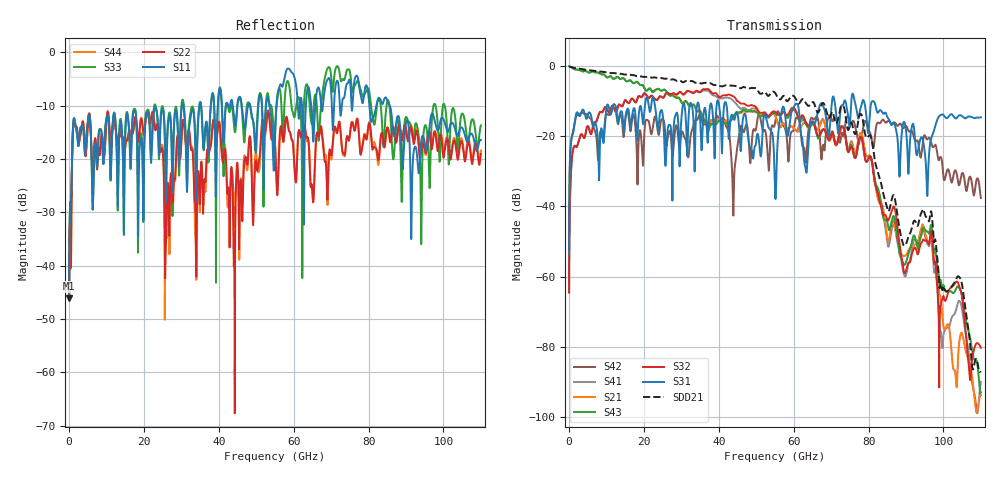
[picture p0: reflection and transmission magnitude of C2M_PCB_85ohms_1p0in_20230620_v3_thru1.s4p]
! Info: Touchstone file created by Circ.  Input file=C2M_PCB_85ohms_1p0in_20230620_v3.circ
# Hz S RI R 50
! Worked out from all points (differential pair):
!   11000 points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, 10 MHz to 110 GHz, reference 50 ohm
!   strongest paths, dB at 10 MHz, 27.51 GHz, 55.01 GHz, 82.51 GHz, 110 GHz:
!     S31: -53.2, -27.6, -36.0, -13.3, -14.6
!     S32: -64.5, -7.9, -13.1, -36.5, -80.3
!     S43: 0.0, -8.4, -13.4, -34.9, -92.9
!     S21: 0.0, -8.1, -13.9, -37.9, -93.7
!     S41: -64.5, -8.1, -14.0, -36.6, -90.0
!     S42: -53.0, -24.5, -16.3, -16.1, -37.6
!   taken as a pair (ports 3,1 in; 4,2 out), SDD21 dB: 0.0, -3.8, -7.6, -30.4, -87.2
!   lowest |S11| = -46.1 dB at 10 MHz (marker M1), VSWR 1.01, Z = 50.5 + j0.00974 ohm
!   |S11| at or under -10 dB: start of sweep to 30.09 GHz; 30.51 GHz to 34.83 GHz (4.322 GHz wide, 13.2 % of centre); 85.68 GHz to end of sweep (the widest 3 of 20)
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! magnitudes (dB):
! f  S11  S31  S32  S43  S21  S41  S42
! 10 MHz  -46.1  -53.2  -64.5  0.0  0.0  -64.5  -53.0
! 1.47 GHz  -12.6  -16.4  -22.7  -0.9  -0.9  -22.7  -16.2
! 9.61 GHz  -14.6  -16.0  -11.7  -2.8  -2.7  -11.7  -15.3
! 59.89 GHz  -4.1  -12.0  -11.9  -12.5  -17.5  -17.7  -18.4
! 78.01 GHz  -8.4  -11.5  -20.2  -20.3  -19.2  -19.2  -20.2
! 89.54 GHz  -16.8  -16.0  -58.9  -56.7  -54.1  -59.7  -17.5
! 110 GHz  -16.4  -14.6  -80.3  -92.9  -93.7  -90.0  -37.6
